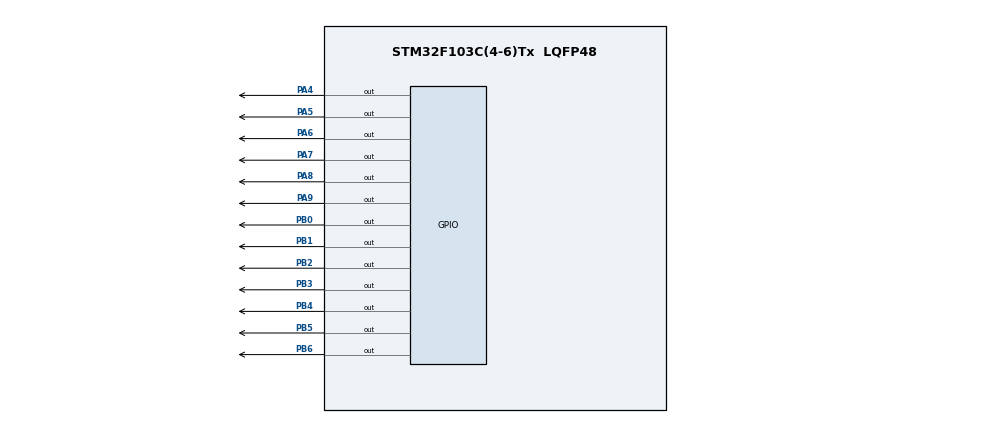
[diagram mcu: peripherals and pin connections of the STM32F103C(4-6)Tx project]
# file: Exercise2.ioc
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Mcu.Family=STM32F1
Mcu.Name=STM32F103C(4-6)Tx
Mcu.Package=LQFP48
NVIC.PriorityGroup=NVIC_PRIORITYGROUP_4
NVIC.TIM2_IRQn=true\:0\:0\:false\:false\:true\:true\:true
PA4.Signal=GPIO_Output
PA5.Signal=GPIO_Output
PA6.Signal=GPIO_Output
PA7.Signal=GPIO_Output
PA8.Signal=GPIO_Output
PA9.Signal=GPIO_Output
PB0.Signal=GPIO_Output
PB1.Signal=GPIO_Output
PB2.Signal=GPIO_Output
PB3.Signal=GPIO_Output
PB4.Signal=GPIO_Output
PB5.Signal=GPIO_Output
PB6.Signal=GPIO_Output
PD0-OSC_IN.Mode=HSE-External-Oscillator
PD0-OSC_IN.Signal=RCC_OSC_IN
PD1-OSC_OUT.Mode=HSE-External-Oscillator
PD1-OSC_OUT.Signal=RCC_OSC_OUT
ProjectManager.HeapSize=0x200
ProjectManager.StackSize=0x400
ProjectManager.TargetToolchain=STM32CubeIDE
RCC.APB1Freq_Value=8000000
RCC.APB2Freq_Value=8000000
TIM2.Period=9
TIM2.Prescaler=7999
VP_SYS_VS_ND.Mode=No_Debug
VP_TIM2_VS_ClockSourceINT.Mode=Internal
board=custom

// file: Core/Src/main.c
/* USER CODE BEGIN Header */
/**
  ******************************************************************************
  * @file           : main.c
  * @brief          : Main program body
  ******************************************************************************
  * @attention
  *
  * <h2><center>&copy; Copyright (c) 2021 STMicroelectronics.
  * All rights reserved.</center></h2>
  *
  * This software component is licensed by ST under BSD 3-Clause license,
  * the "License"; You may not use this file except in compliance with the
  * License. You may obtain a copy of the License at:
  *                        opensource.org/licenses/BSD-3-Clause
  *
  ******************************************************************************
  */
/* USER CODE END Header */
#include "main.h"

TIM_HandleTypeDef htim2;

void SystemClock_Config(void);
static void MX_GPIO_Init(void);
static void MX_TIM2_Init(void);

int main(void)
{

  /* MCU Configuration--------------------------------------------------------*/

  /* Reset of all peripherals, Initializes the Flash interface and the Systick. */
  HAL_Init();

  /* Configure the system clock */
  SystemClock_Config();

  /* Initialize all configured peripherals */
  MX_GPIO_Init();
  MX_TIM2_Init();
  /* USER CODE BEGIN 2 */
  HAL_TIM_Base_Start_IT(&htim2);
  /* USER CODE END 2 */

  /* Infinite loop */
  while (1)
  {

  }
}

void SystemClock_Config(void)
{
  RCC_OscInitTypeDef RCC_OscInitStruct = {0};
  RCC_ClkInitTypeDef RCC_ClkInitStruct = {0};

  /** Initializes the RCC Oscillators according to the specified parameters
  * in the RCC_OscInitTypeDef structure.
  */
  RCC_OscInitStruct.OscillatorType = RCC_OSCILLATORTYPE_HSI;
  RCC_OscInitStruct.HSIState = RCC_HSI_ON;
  RCC_OscInitStruct.HSICalibrationValue = RCC_HSICALIBRATION_DEFAULT;
  RCC_OscInitStruct.PLL.PLLState = RCC_PLL_NONE;
  if (HAL_RCC_OscConfig(&RCC_OscInitStruct) != HAL_OK)
  {
    Error_Handler();
  }
  /** Initializes the CPU, AHB and APB buses clocks
  */
  RCC_ClkInitStruct.ClockType = RCC_CLOCKTYPE_HCLK|RCC_CLOCKTYPE_SYSCLK
                              |RCC_CLOCKTYPE_PCLK1|RCC_CLOCKTYPE_PCLK2;
  RCC_ClkInitStruct.SYSCLKSource = RCC_SYSCLKSOURCE_HSI;
  RCC_ClkInitStruct.AHBCLKDivider = RCC_SYSCLK_DIV1;
  RCC_ClkInitStruct.APB1CLKDivider = RCC_HCLK_DIV1;
  RCC_ClkInitStruct.APB2CLKDivider = RCC_HCLK_DIV1;

  if (HAL_RCC_ClockConfig(&RCC_ClkInitStruct, FLASH_LATENCY_0) != HAL_OK)
  {
    Error_Handler();
  }
}

static void MX_TIM2_Init(void)
{

  TIM_ClockConfigTypeDef sClockSourceConfig = {0};
  TIM_MasterConfigTypeDef sMasterConfig = {0};

  htim2.Instance = TIM2;
  htim2.Init.Prescaler = 7999;
  htim2.Init.CounterMode = TIM_COUNTERMODE_UP;
  htim2.Init.Period = 9;
  htim2.Init.ClockDivision = TIM_CLOCKDIVISION_DIV1;
  htim2.Init.AutoReloadPreload = TIM_AUTORELOAD_PRELOAD_DISABLE;
  if (HAL_TIM_Base_Init(&htim2) != HAL_OK)
  {
    Error_Handler();
  }
  sClockSourceConfig.ClockSource = TIM_CLOCKSOURCE_INTERNAL;
  if (HAL_TIM_ConfigClockSource(&htim2, &sClockSourceConfig) != HAL_OK)
  {
    Error_Handler();
  }
  sMasterConfig.MasterOutputTrigger = TIM_TRGO_RESET;
  sMasterConfig.MasterSlaveMode = TIM_MASTERSLAVEMODE_DISABLE;
  if (HAL_TIMEx_MasterConfigSynchronization(&htim2, &sMasterConfig) != HAL_OK)
  {
    Error_Handler();
  }

}

static void MX_GPIO_Init(void)
{
  GPIO_InitTypeDef GPIO_InitStruct = {0};

  /* GPIO Ports Clock Enable */
  __HAL_RCC_GPIOD_CLK_ENABLE();
  __HAL_RCC_GPIOA_CLK_ENABLE();
  __HAL_RCC_GPIOB_CLK_ENABLE();

  /*Configure GPIO pin Output Level */
  HAL_GPIO_WritePin(GPIOA, GPIO_PIN_4|GPIO_PIN_5|GPIO_PIN_6|GPIO_PIN_7
                          |GPIO_PIN_8|GPIO_PIN_9, GPIO_PIN_RESET);

  /*Configure GPIO pin Output Level */
  HAL_GPIO_WritePin(GPIOB, GPIO_PIN_0|GPIO_PIN_1|GPIO_PIN_2|GPIO_PIN_3
                          |GPIO_PIN_4|GPIO_PIN_5|GPIO_PIN_6, GPIO_PIN_RESET);

  /*Configure GPIO pins : PA4 PA5 PA6 PA7
                           PA8 PA9 */
  GPIO_InitStruct.Pin = GPIO_PIN_4|GPIO_PIN_5|GPIO_PIN_6|GPIO_PIN_7
                          |GPIO_PIN_8|GPIO_PIN_9;
  GPIO_InitStruct.Mode = GPIO_MODE_OUTPUT_PP;
  GPIO_InitStruct.Pull = GPIO_NOPULL;
  GPIO_InitStruct.Speed = GPIO_SPEED_FREQ_LOW;
  HAL_GPIO_Init(GPIOA, &GPIO_InitStruct);

  /*Configure GPIO pins : PB0 PB1 PB2 PB3
                           PB4 PB5 PB6 */
  GPIO_InitStruct.Pin = GPIO_PIN_0|GPIO_PIN_1|GPIO_PIN_2|GPIO_PIN_3
                          |GPIO_PIN_4|GPIO_PIN_5|GPIO_PIN_6;
  GPIO_InitStruct.Mode = GPIO_MODE_OUTPUT_PP;
  GPIO_InitStruct.Pull = GPIO_NOPULL;
  GPIO_InitStruct.Speed = GPIO_SPEED_FREQ_LOW;
  HAL_GPIO_Init(GPIOB, &GPIO_InitStruct);

}

/* USER CODE BEGIN 4 */
//g f e d c b a => PB6 PB5 PB4 PB3 PB2 PB1 PB0
int nums[10] = {
		0x40,				//0
		0x79, 				//1
		0x24,				//2
		0x30,				//3
		0x19,				//4
		0x12,				//5
		0x02,				//6
		0x70,				//7
		0x00,				//8
		0x10};				//9
//Hiển thị số trên LED 7 đoạn bằng bằng truyền vào số ở dãy nums
//Sau đó lấy từng bit rồi viết vào trong PIN
//Bằng cách dịch từng bit và and với 1;
void display7SEG(int count){
	HAL_GPIO_WritePin(GPIOB, GPIO_PIN_0, (count>>0 & 0x1));
	HAL_GPIO_WritePin(GPIOB, GPIO_PIN_1, (count>>1 & 0x1));
	HAL_GPIO_WritePin(GPIOB, GPIO_PIN_2, (count>>2 & 0x1));
	HAL_GPIO_WritePin(GPIOB, GPIO_PIN_3, (count>>3 & 0x1));
	HAL_GPIO_WritePin(GPIOB, GPIO_PIN_4, (count>>4 & 0x1));
	HAL_GPIO_WritePin(GPIOB, GPIO_PIN_5, (count>>5 & 0x1));
	HAL_GPIO_WritePin(GPIOB, GPIO_PIN_6, (count>>6 & 0x1));
}
//Mảng để chọn led nào hiển thị
int enable[] = {0xE, 0xD, 0xB, 0x7};
//Hàm để chọn LED 7 đoạn nào được hiển thị
//
void setEnable(int num){
	HAL_GPIO_WritePin(GPIOA, GPIO_PIN_6, (num>>0 & 0x1));
	HAL_GPIO_WritePin(GPIOA, GPIO_PIN_7, (num>>1 & 0x1));
	HAL_GPIO_WritePin(GPIOA, GPIO_PIN_8, (num>>2 & 0x1));
	HAL_GPIO_WritePin(GPIOA, GPIO_PIN_9, (num>>3 & 0x1));
}
//Số LED 7SEG tối đa
const int MAX_LED = 4;
//Mảng chứa số sẽ hiện trên các LED 7 SEG
int led_buffer[4] = {5, 2, 8, 9};
void update7SEG(int index){
//	Hiển thị 7 SEG với giá trị tương ứng trong nums
//	Set enable cho biết 7 SEG nào sẽ sáng
	switch(index){
	case 0:
		display7SEG(nums[led_buffer[index]]);
		setEnable(enable[0]);
		break;
	case 1:
		display7SEG(nums[led_buffer[index]]);
		setEnable(enable[1]);
		break;
	case 2:
		display7SEG(nums[led_buffer[index]]);
		setEnable(enable[2]);
		break;
	case 3:
		display7SEG(nums[led_buffer[index]]);
		setEnable(enable[3]);
		break;
	default:
		break;
	}
}
//Exercise 2
////Counter = đếm số lần interupt, flag = xác định led nào sáng, dot = dấu chấm 2 chấm (2 led đơn)
//int counter = 50, flag = 0, dot = 0;
//void HAL_TIM_PeriodElapsedCallback(TIM_HandleTypeDef *htim){
//	counter--;
//	if(counter <= 0){
//		counter = 50;
//		HAL_GPIO_TogglePin(GPIOA, GPIO_PIN_5); //LED đơn PA5 chớp tắt mỗi 0.5s
//		flag++;
//		dot++;
//		if(dot == 2){
//			dot = 0;
//			HAL_GPIO_TogglePin(GPIOA, GPIO_PIN_4); //Dấu 2 chấm chớt tắt mỗi 1s
//		}
//		if(flag > 3) flag = 0;
//	}
////	7 SEG thứ nhất sáng hiển thị 1
//	if(flag == 0) {
//		display7SEG(nums[1]);
//		setEnable(enable[0]);
//	}
////	7 SEG thứ hai sáng hiển thị 2
//	else if(flag == 1){
//		display7SEG(nums[2]);
//		setEnable(enable[1]);
//	}
////	7 SEG thứ ba sáng hiển thị 3
//	else if(flag == 2){
//		display7SEG(nums[3]);
//		setEnable(enable[2]);
//	}
////	7 SEG thứ tư sáng hiển thị 0
//	else if(flag == 3){
//		display7SEG(nums[0]);
//		setEnable(enable[3]);
//	}
//}
//End exercise2

//Exercise 3
//Counter = đếm số lần interupt, flag = xác định led nào sáng, dot = dấu chấm 2 chấm (2 led đơn)
int counter = 25, index_led = 0, dot = 0;
void HAL_TIM_PeriodElapsedCallback(TIM_HandleTypeDef *htim){
	counter--;
	if(counter <= 0) {
		counter = 25;
		HAL_GPIO_TogglePin(GPIOA, GPIO_PIN_5); //LED đơn PA5 chớp tắt mỗi 0.5s
		dot++;
		//Dấu 2 chấm chớt tắt mỗi 1s
		if(dot == 2){
			dot = 0;
			HAL_GPIO_TogglePin(GPIOA, GPIO_PIN_4);
		}
//		Gọi hàm để update 7 seg với giá trị tương ứng
		update7SEG(index_led++);
//		Reset giá trị index_led do index_led từ 0->3
		if(index_led > 3) index_led = 0;
	}
}

/* USER CODE END 4 */

void Error_Handler(void)
{
  __disable_irq();
  while (1)
  {
  }
}

/************************ (C) COPYRIGHT STMicroelectronics *****END OF FILE****/
